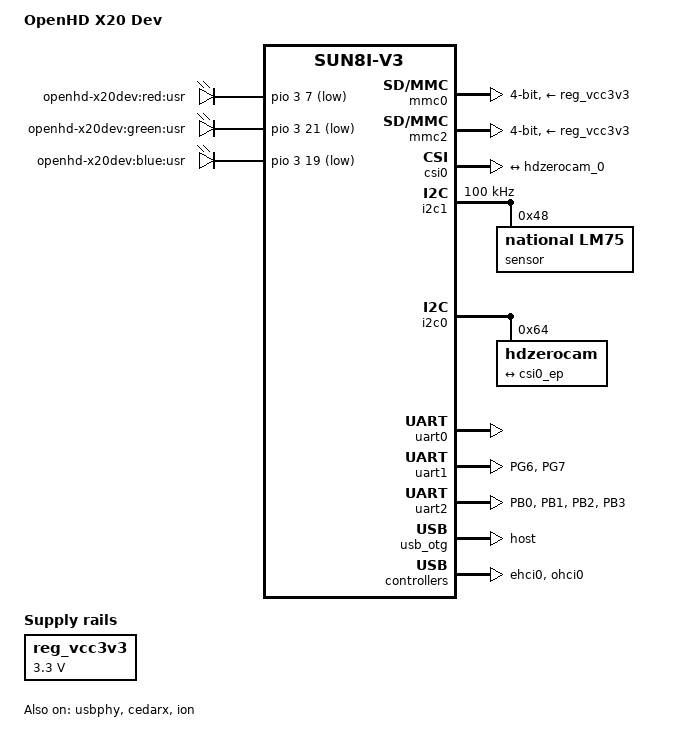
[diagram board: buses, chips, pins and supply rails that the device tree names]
// SPDX-License-Identifier: (GPL-2.0+ OR MIT)
/*
 * Copyright (C) 2019 Icenowy Zheng <icenowy@aosc.io>
 */

/dts-v1/;
#include "sun8i-v3.dtsi"

#include <dt-bindings/gpio/gpio.h>

/ {
	model = "OpenHD X20 Dev";
	compatible = "openhd-x20dev", "sochip,s3",
		     "allwinner,sun8i-v3";

	aliases {
		serial0 = &uart0;
	};

	chosen {
		stdout-path = "serial0:115200n8";
	};
    
	reserved-memory {
		#address-cells = <1>;
		#size-cells = <1>;
		ranges;

    };

	reg_vcc3v3: vcc3v3 {
		compatible = "regulator-fixed";
		regulator-name = "vcc3v3";
		regulator-min-microvolt = <3300000>;
		regulator-max-microvolt = <3300000>;
	};
    
    leds {
		compatible = "gpio-leds";

		red_led {
			label = "openhd-x20dev:red:usr";
			//gpios = <&pio 3 4 GPIO_ACTIVE_LOW>; /* PD4 */
			gpios = <&pio 3 7 GPIO_ACTIVE_LOW>; /* PD4 */
			default-state = "on";
            
		};

		green_led {
			label = "openhd-x20dev:green:usr";
			//gpios = <&pio 3 5 GPIO_ACTIVE_LOW>; /* PD5 */
			gpios = <&pio 3 21 GPIO_ACTIVE_LOW>; /* PD5 */
			default-state = "on";
		};

		blue_led {
			label = "openhd-x20dev:blue:usr";
			//gpios = <&pio 3 8 GPIO_ACTIVE_LOW>; /* PD8 */
			gpios = <&pio 3 19 GPIO_ACTIVE_LOW>; /* PD8 */
			default-state = "on";
		};
	};
};

&pio {
	uart1_pg_pins: uart1-pg-pins {
		pins = "PG6", "PG7";
		function = "uart1";
	};

	uart2_pins: uart2-pins {
		/* TX, RX, RTS, CTS */
		pins = "PB0", "PB1", "PB2", "PB3";
		function = "uart2";
	};

};

&mmc0 {
	broken-cd;
	bus-width = <4>;
	vmmc-supply = <&reg_vcc3v3>;
	status = "okay";
};

&mmc2 {
	bus-width = <4>;
	vmmc-supply = <&reg_vcc3v3>;
	status = "okay";
};

&csi0 {
    status = "okay";
    allwinner,mipi-csi-bps = <300000000>;
    port {
        csi0_ep: endpoint {
            remote-endpoint = <&hdzerocam_0>;
            clock-lanes = <0>;
            data-lanes = <1 2 3 4>;
        };
    };
};

&i2c1 {
	pinctrl-names = "default";
    clock-frequency = <100000>;
	status = "okay";
    sensor@48 {
        //compatible = "ti, tmp75";
        compatible = "national,lm75";
        reg = <0x48>;
    };
    
};


&i2c0 {
    status = "okay";
    hdzerocam: camera@64 {
		compatible = "hdzerocam";
		reg = <0x64>;
        pinctrl-names = "default";
        port {
            hdzerocam_0: endpoint {
                remote-endpoint = <&csi0_ep>;
                clock-lanes = <0>;
                data-lanes = <1 2 3 4>;
            };
        };
    };
};



&uart0 {
	pinctrl-0 = <&uart0_pb_pins>;
	pinctrl-names = "default";
	status = "okay";
};

&uart1 {
	status = "okay";

	pinctrl-names = "default";
	pinctrl-0 = <&uart1_pg_pins>;
};

&uart2 {
	status = "okay";
	pinctrl-names = "default";
	pinctrl-0 = <&uart2_pins>;
	uart-has-rtscts;
};



&usb_otg {
	dr_mode = "host";
	status = "okay";
};

&usbphy {
    usb0_id_det = <&pio 6 9 GPIO_ACTIVE_HIGH>; /* PG9 */
    //usb0_id_det-gpios = <&pio 6 9 GPIO_ACTIVE_HIGH>; /* PG9 */
	usb0_vbus_det = <&pio 1 10 GPIO_ACTIVE_HIGH>; /* PB10 */
	/* usb0_vbus-supply = <&reg_usb0_vbus>; */ /* TODO: from AXP */
	status = "okay";
};

&ehci0 {
	status = "okay";
};
&ohci0 {
	status = "okay";
};
&cedarx {
    status = "okay";
};

&ion {
    status = "okay";
};


